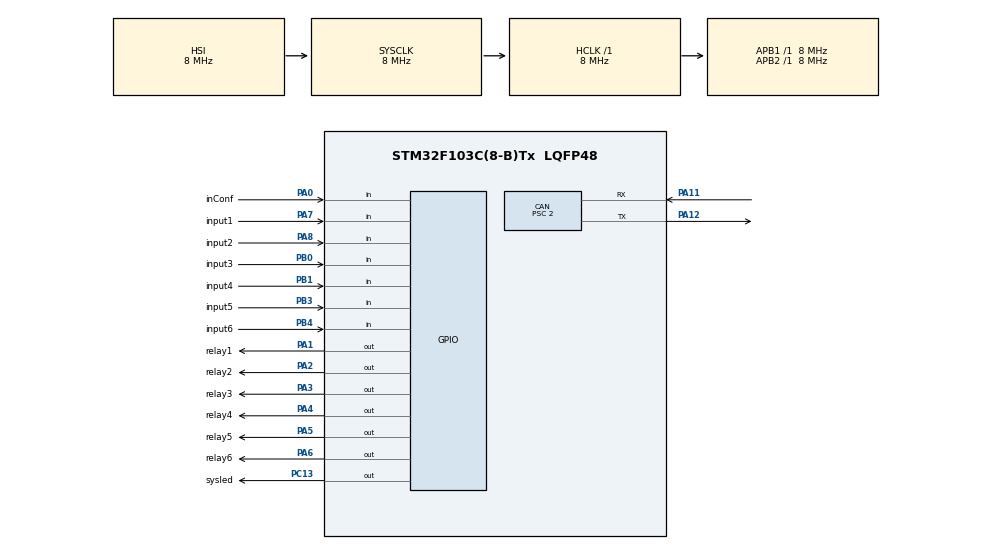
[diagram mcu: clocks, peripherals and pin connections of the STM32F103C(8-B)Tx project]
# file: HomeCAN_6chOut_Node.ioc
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CAN.ABOM=ENABLE
CAN.AWUM=DISABLE
CAN.BS1=CAN_BS1_13TQ
CAN.BS2=CAN_BS2_2TQ
CAN.CalculateBaudRate=250000
CAN.CalculateTimeBit=4000
CAN.CalculateTimeQuantum=250.0
CAN.Prescaler=2
Mcu.Family=STM32F1
Mcu.Name=STM32F103C(8-B)Tx
Mcu.Package=LQFP48
NVIC.CAN1_RX1_IRQn=true\:0\:0\:false\:false\:true\:true\:true\:true
NVIC.CAN1_SCE_IRQn=true\:0\:0\:false\:false\:true\:true\:true\:true
NVIC.PriorityGroup=NVIC_PRIORITYGROUP_4
NVIC.TIM2_IRQn=true\:15\:0\:false\:false\:true\:false\:true\:true
NVIC.TimeBase=TIM2_IRQn
NVIC.TimeBaseIP=TIM2
NVIC.USB_LP_CAN1_RX0_IRQn=true\:0\:0\:false\:false\:true\:true\:true\:true
PA0-WKUP.GPIO_Label=inConf
PA0-WKUP.GPIO_PuPd=GPIO_PULLUP
PA0-WKUP.Signal=GPIO_Input
PA1.GPIO_Label=relay1
PA1.GPIO_Speed=GPIO_SPEED_FREQ_MEDIUM
PA1.PinState=GPIO_PIN_SET
PA1.Signal=GPIO_Output
PA11.Mode=CAN_Activate
PA11.Signal=CAN_RX
PA12.Mode=CAN_Activate
PA12.Signal=CAN_TX
PA13.Mode=Serial_Wire
PA13.Signal=SYS_JTMS-SWDIO
PA14.Mode=Serial_Wire
PA14.Signal=SYS_JTCK-SWCLK
PA2.GPIO_Label=relay2
PA2.GPIO_Speed=GPIO_SPEED_FREQ_MEDIUM
PA2.PinState=GPIO_PIN_SET
PA2.Signal=GPIO_Output
PA3.GPIO_Label=relay3
PA3.GPIO_Speed=GPIO_SPEED_FREQ_MEDIUM
PA3.PinState=GPIO_PIN_SET
PA3.Signal=GPIO_Output
PA4.GPIO_Label=relay4
PA4.GPIO_Speed=GPIO_SPEED_FREQ_MEDIUM
PA4.PinState=GPIO_PIN_SET
PA4.Signal=GPIO_Output
PA5.GPIO_Label=relay5
PA5.GPIO_Speed=GPIO_SPEED_FREQ_MEDIUM
PA5.PinState=GPIO_PIN_SET
PA5.Signal=GPIO_Output
PA6.GPIO_Label=relay6
PA6.GPIO_Speed=GPIO_SPEED_FREQ_MEDIUM
PA6.PinState=GPIO_PIN_SET
PA6.Signal=GPIO_Output
PA7.GPIO_Label=input1
PA7.GPIO_PuPd=GPIO_PULLUP
PA7.Signal=GPIO_Input
PA8.GPIO_Label=input2
PA8.GPIO_PuPd=GPIO_PULLUP
PA8.Signal=GPIO_Input
PB0.GPIO_Label=input3
PB0.GPIO_PuPd=GPIO_PULLUP
PB0.Signal=GPIO_Input
PB1.GPIO_Label=input4
PB1.GPIO_PuPd=GPIO_PULLUP
PB1.Signal=GPIO_Input
PB3.GPIO_Label=input5
PB3.GPIO_PuPd=GPIO_PULLUP
PB3.Signal=GPIO_Input
PB4.GPIO_Label=input6
PB4.GPIO_PuPd=GPIO_PULLUP
PB4.Signal=GPIO_Input
PC13-TAMPER-RTC.GPIO_Label=sysled
PC13-TAMPER-RTC.Signal=GPIO_Output
ProjectManager.HeapSize=0x200
ProjectManager.StackSize=0x400
ProjectManager.TargetToolchain=STM32CubeIDE
RCC.AHBFreq_Value=8000000
RCC.APB1Freq_Value=8000000
RCC.APB1TimFreq_Value=8000000
RCC.APB2Freq_Value=8000000
RCC.APB2TimFreq_Value=8000000
RCC.HCLKFreq_Value=8000000
RCC.SYSCLKFreq_VALUE=8000000
RCC.USBFreq_Value=8000000
VP_SYS_VS_tim2.Mode=TIM2
board=custom

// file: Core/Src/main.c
/* USER CODE BEGIN Header */
/**
  ******************************************************************************
  * @file           : main.c
  * @brief          : Main program body
  ******************************************************************************
  * @attention
  *
  * Copyright (c) 2023 STMicroelectronics.
  * All rights reserved.
  *
  * This software is licensed under terms that can be found in the LICENSE file
  * in the root directory of this software component.
  * If no LICENSE file comes with this software, it is provided AS-IS.
  *
  ******************************************************************************
  */
/* USER CODE END Header */
#include "main.h"

/* USER CODE BEGIN Includes */
#include "FLASH_PAGE_F1.h"
/* USER CODE END Includes */

CAN_HandleTypeDef hcan;

/* USER CODE BEGIN PV */
CAN_RxHeaderTypeDef rxHeader; //CAN Bus Transmit Header
CAN_TxHeaderTypeDef txHeader; //CAN Bus Receive Header
uint8_t canRX[8] = {0,0,0,0,0,0,0,0};  //CAN Bus Receive Buffer
CAN_FilterTypeDef canfil; //CAN Bus Filter
uint32_t canMailbox; //CAN Bus Mail box variable

int
rUp_rel1,
rUp_rel2,
rUp_rel3,
rUp_rel4,
rUp_rel5,
rUp_rel6,
rUp_cod = 0;

int state1,
state2,
state3,
state4,
state5,
state6 =0;

uint32_t coding[] = {0,0,1,0,0,0,0,0,0,0,0,0,0,0,0,0,0,0,0,0,0,0};

uint32_t def_code[] = {0,0,1,0,0,0,0,0,0,0,0,0,0,0,0,0,0,0,0,0,0,0};

/* USER CODE END PV */

void SystemClock_Config(void);
static void MX_GPIO_Init(void);
static void MX_CAN_Init(void);
void  checkInConfigMode(void);
void updateState(void);
void checkInput(void);

int main(void)
{

  /* MCU Configuration--------------------------------------------------------*/

  /* Reset of all peripherals, Initializes the Flash interface and the Systick. */
  HAL_Init();

  /* Configure the system clock */
  SystemClock_Config();

  /* USER CODE BEGIN SysInit */

  Flash_Read_Data(0x0801FC00, coding, 21);

  if (coding[2] != 0) {

	  Flash_Write_Data(0x0801FC00, (uint32_t *)def_code, 22);

	  Flash_Read_Data(0x0801FC00, coding, 21);

 }

  /* USER CODE END SysInit */

  /* Initialize all configured peripherals */
  MX_GPIO_Init();
  MX_CAN_Init();
  /* USER CODE BEGIN 2 */
  canfil.FilterBank = 0;
  canfil.FilterMode = CAN_FILTERMODE_IDLIST;
  canfil.FilterScale = CAN_FILTERSCALE_16BIT;
  canfil.FilterFIFOAssignment = CAN_RX_FIFO0;
  canfil.FilterIdHigh = coding[1] << 5u;
  canfil.FilterIdLow = 0;
  canfil.FilterMaskIdHigh = 0;
  canfil.FilterMaskIdLow = 0;
  canfil.FilterActivation = ENABLE;

  txHeader.DLC = 8;
  txHeader.IDE = CAN_ID_STD;
  txHeader.RTR = CAN_RTR_DATA;
  txHeader.StdId = 0x030;
  txHeader.ExtId = 0x02;
  txHeader.TransmitGlobalTime = DISABLE;

  HAL_CAN_ConfigFilter(&hcan,&canfil);
  HAL_CAN_Start(&hcan);
  HAL_CAN_ActivateNotification(&hcan,CAN_IT_RX_FIFO0_MSG_PENDING);

 if (coding[0] == 1) {
	txHeader.DLC = 4;
	txHeader.StdId = coding[1];
	uint8_t csend[] = {0x05,0x02,0x06, coding[0]};
	HAL_CAN_AddTxMessage(&hcan,&txHeader,csend,&canMailbox);
 }
  /* USER CODE END 2 */

  /* Infinite loop */
  while (1)
  {
	  checkInConfigMode();
	  updateState();
	  checkInput();
  }
}

void SystemClock_Config(void)
{
  RCC_OscInitTypeDef RCC_OscInitStruct = {0};
  RCC_ClkInitTypeDef RCC_ClkInitStruct = {0};

  /** Initializes the RCC Oscillators according to the specified parameters
  * in the RCC_OscInitTypeDef structure.
  */
  RCC_OscInitStruct.OscillatorType = RCC_OSCILLATORTYPE_HSI;
  RCC_OscInitStruct.HSIState = RCC_HSI_ON;
  RCC_OscInitStruct.HSICalibrationValue = RCC_HSICALIBRATION_DEFAULT;
  RCC_OscInitStruct.PLL.PLLState = RCC_PLL_NONE;
  if (HAL_RCC_OscConfig(&RCC_OscInitStruct) != HAL_OK)
  {
    Error_Handler();
  }

  /** Initializes the CPU, AHB and APB buses clocks
  */
  RCC_ClkInitStruct.ClockType = RCC_CLOCKTYPE_HCLK|RCC_CLOCKTYPE_SYSCLK
                              |RCC_CLOCKTYPE_PCLK1|RCC_CLOCKTYPE_PCLK2;
  RCC_ClkInitStruct.SYSCLKSource = RCC_SYSCLKSOURCE_HSI;
  RCC_ClkInitStruct.AHBCLKDivider = RCC_SYSCLK_DIV1;
  RCC_ClkInitStruct.APB1CLKDivider = RCC_HCLK_DIV1;
  RCC_ClkInitStruct.APB2CLKDivider = RCC_HCLK_DIV1;

  if (HAL_RCC_ClockConfig(&RCC_ClkInitStruct, FLASH_LATENCY_0) != HAL_OK)
  {
    Error_Handler();
  }
}

static void MX_CAN_Init(void)
{

  hcan.Instance = CAN1;
  hcan.Init.Prescaler = 2;
  hcan.Init.Mode = CAN_MODE_NORMAL;
  hcan.Init.SyncJumpWidth = CAN_SJW_1TQ;
  hcan.Init.TimeSeg1 = CAN_BS1_13TQ;
  hcan.Init.TimeSeg2 = CAN_BS2_2TQ;
  hcan.Init.TimeTriggeredMode = DISABLE;
  hcan.Init.AutoBusOff = ENABLE;
  hcan.Init.AutoWakeUp = DISABLE;
  hcan.Init.AutoRetransmission = DISABLE;
  hcan.Init.ReceiveFifoLocked = DISABLE;
  hcan.Init.TransmitFifoPriority = DISABLE;
  if (HAL_CAN_Init(&hcan) != HAL_OK)
  {
    Error_Handler();
  }

}

static void MX_GPIO_Init(void)
{
  GPIO_InitTypeDef GPIO_InitStruct = {0};

  /* GPIO Ports Clock Enable */
  __HAL_RCC_GPIOC_CLK_ENABLE();
  __HAL_RCC_GPIOA_CLK_ENABLE();
  __HAL_RCC_GPIOB_CLK_ENABLE();

  /*Configure GPIO pin Output Level */
  HAL_GPIO_WritePin(sysled_GPIO_Port, sysled_Pin, GPIO_PIN_RESET);

  /*Configure GPIO pin Output Level */
  HAL_GPIO_WritePin(GPIOA, relay1_Pin, !coding[10]);
  HAL_GPIO_WritePin(GPIOA, relay2_Pin, !coding[11]);
  HAL_GPIO_WritePin(GPIOA, relay3_Pin, !coding[12]);
  HAL_GPIO_WritePin(GPIOA, relay4_Pin, !coding[13]);
  HAL_GPIO_WritePin(GPIOA, relay5_Pin, !coding[14]);
  HAL_GPIO_WritePin(GPIOA, relay6_Pin, !coding[15]);

  /*Configure GPIO pin : sysled_Pin */
  GPIO_InitStruct.Pin = sysled_Pin;
  GPIO_InitStruct.Mode = GPIO_MODE_OUTPUT_PP;
  GPIO_InitStruct.Pull = GPIO_NOPULL;
  GPIO_InitStruct.Speed = GPIO_SPEED_FREQ_LOW;
  HAL_GPIO_Init(sysled_GPIO_Port, &GPIO_InitStruct);

  /*Configure GPIO pins : inConf_Pin input1_Pin input2_Pin */
  GPIO_InitStruct.Pin = inConf_Pin|input1_Pin|input2_Pin;
  GPIO_InitStruct.Mode = GPIO_MODE_INPUT;
  GPIO_InitStruct.Pull = GPIO_PULLUP;
  HAL_GPIO_Init(GPIOA, &GPIO_InitStruct);

  /*Configure GPIO pins : relay1_Pin relay2_Pin relay3_Pin relay4_Pin
                           relay5_Pin relay6_Pin */
  GPIO_InitStruct.Pin = relay1_Pin|relay2_Pin|relay3_Pin|relay4_Pin
                          |relay5_Pin|relay6_Pin;
  GPIO_InitStruct.Mode = GPIO_MODE_OUTPUT_PP;
  GPIO_InitStruct.Pull = GPIO_NOPULL;
  GPIO_InitStruct.Speed = GPIO_SPEED_FREQ_MEDIUM;
  HAL_GPIO_Init(GPIOA, &GPIO_InitStruct);

  /*Configure GPIO pins : input3_Pin input4_Pin input5_Pin input6_Pin */
  GPIO_InitStruct.Pin = input3_Pin|input4_Pin|input5_Pin|input6_Pin;
  GPIO_InitStruct.Mode = GPIO_MODE_INPUT;
  GPIO_InitStruct.Pull = GPIO_PULLUP;
  HAL_GPIO_Init(GPIOB, &GPIO_InitStruct);

}

/* USER CODE BEGIN 4 */
void checkInConfigMode() {
	  HAL_Delay(1);
	  if (coding[0] != 0) {
		  //in config mode
		  HAL_GPIO_WritePin(GPIOC,GPIO_PIN_13,0);
		  HAL_Delay(500);
		  HAL_GPIO_WritePin(GPIOC,GPIO_PIN_13,1);
		  HAL_Delay(500);
		  if (HAL_GPIO_ReadPin(GPIOA,GPIO_PIN_0) == 0) {
			  coding[0] = 0;
			  Flash_Write_Data(0x0801FC00 , (uint32_t *)coding, 22);
			  while(HAL_GPIO_ReadPin(GPIOA,GPIO_PIN_0) == 0) {
				  HAL_GPIO_WritePin(GPIOC,GPIO_PIN_13,0);
				  HAL_Delay(100);
				  HAL_GPIO_WritePin(GPIOC,GPIO_PIN_13,1);
				  HAL_Delay(100);
			  }
			  canfil.FilterIdHigh = coding[1] << 5u;
			  HAL_CAN_ConfigFilter(&hcan,&canfil);
		  }
	  }else{
		  if (HAL_GPIO_ReadPin(GPIOA,GPIO_PIN_0) == 0) {
			  coding[0] = 1;
			  Flash_Write_Data(0x0801FC00 , (uint32_t *)coding, 22);
			  txHeader.DLC = 3;
			  txHeader.StdId = coding[1];
			  uint8_t csend[] = {0x05,0x02,0x06};
			  HAL_CAN_AddTxMessage(&hcan,&txHeader,csend,&canMailbox);
			  while(HAL_GPIO_ReadPin(GPIOA,GPIO_PIN_0) == 0) {
				  HAL_GPIO_WritePin(GPIOC,GPIO_PIN_13,0);
				  HAL_Delay(100);
				  HAL_GPIO_WritePin(GPIOC,GPIO_PIN_13,1);
				  HAL_Delay(100);
			  }
		  }
	  }

}

void checkInput() {
	//INPUT 1 --------------------------------------------------------------------------------
	if (coding[16] == 1) {
	if (!HAL_GPIO_ReadPin(GPIOA, GPIO_PIN_7)) {
		coding[10] = !coding[10];
		HAL_GPIO_WritePin(GPIOA,GPIO_PIN_1,!coding[10]);

		rUp_rel1=1;
		while(!HAL_GPIO_ReadPin(GPIOA,GPIO_PIN_7)) {

		}
	}
	}else if (coding[16]==2) {
		if (!HAL_GPIO_ReadPin(GPIOA, GPIO_PIN_7)) {
			coding[10] = !coding[10];
			HAL_GPIO_WritePin(GPIOA,GPIO_PIN_1,!coding[10]);

			rUp_rel1=1;
			coding[16]= 3;

			}
	}else if (coding[16]==3) {
		if (HAL_GPIO_ReadPin(GPIOA, GPIO_PIN_7)) {
			coding[10] = !coding[10];
			HAL_GPIO_WritePin(GPIOA,GPIO_PIN_1,!coding[10]);

			rUp_rel1=1;

			coding[16]= 2;

			}
	}

	//INPUT 2 --------------------------------------------------------------------------------
	if (coding[17] == 1) {
	if (!HAL_GPIO_ReadPin(GPIOA, GPIO_PIN_8)) {
		coding[11] = !coding[11];
		HAL_GPIO_WritePin(GPIOA,GPIO_PIN_2,!coding[11]);

		rUp_rel2=1;

		while(!HAL_GPIO_ReadPin(GPIOA,GPIO_PIN_8)) {

		}
	}
	}else if (coding[17]==2) {
		if (!HAL_GPIO_ReadPin(GPIOA, GPIO_PIN_8)) {
			coding[11] = !coding[11];
			HAL_GPIO_WritePin(GPIOA,GPIO_PIN_2,!coding[11]);

			rUp_rel2=1;
			coding[17]= 3;

			}
	}else if (coding[17]==3) {
		if (HAL_GPIO_ReadPin(GPIOA, GPIO_PIN_8)) {
			coding[11] = !coding[11];
			HAL_GPIO_WritePin(GPIOA,GPIO_PIN_2,!coding[11]);

			rUp_rel2=1;
			coding[17]= 2;

			}
	}

	//INPUT 3 --------------------------------------------------------------------------------
	if (coding[18] == 1) {
	if (!HAL_GPIO_ReadPin(GPIOB, GPIO_PIN_0)) {
		coding[12] = !coding[12];
		HAL_GPIO_WritePin(GPIOA,GPIO_PIN_3,!coding[12]);

		rUp_rel2=1;

		while(!HAL_GPIO_ReadPin(GPIOB,GPIO_PIN_0)) {

		}
	}
	}else if (coding[18]==2) {
		if (!HAL_GPIO_ReadPin(GPIOB, GPIO_PIN_0)) {
			coding[12] = !coding[12];
			HAL_GPIO_WritePin(GPIOA,GPIO_PIN_3,!coding[12]);

			rUp_rel3=1;
			coding[18]= 3;

			}
	}else if (coding[18]==3) {
		if (HAL_GPIO_ReadPin(GPIOB, GPIO_PIN_0)) {
			coding[12] = !coding[12];
			HAL_GPIO_WritePin(GPIOA,GPIO_PIN_3,!coding[12]);

			rUp_rel3=1;

			coding[18]= 2;

			}
	}

	//INPUT 4 --------------------------------------------------------------------------------
	if (coding[19] == 1) {
	if (!HAL_GPIO_ReadPin(GPIOB, GPIO_PIN_1)) {
		coding[13] = !coding[13];
		HAL_GPIO_WritePin(GPIOA,GPIO_PIN_4,!coding[13]);

		rUp_rel4=1;

		while(!HAL_GPIO_ReadPin(GPIOB,GPIO_PIN_1)) {

		}
	}
	}else if (coding[19]==2) {
		if (!HAL_GPIO_ReadPin(GPIOB, GPIO_PIN_1)) {
			coding[13] = !coding[13];
			HAL_GPIO_WritePin(GPIOA,GPIO_PIN_4,!coding[13]);

			rUp_rel4=1;

			coding[19]= 3;

			}
	}else if (coding[19]==3) {
		if (HAL_GPIO_ReadPin(GPIOB, GPIO_PIN_1)) {
			coding[13] = !coding[13];
			HAL_GPIO_WritePin(GPIOA,GPIO_PIN_4,!coding[13]);

			rUp_rel4=1;
			coding[19]= 2;

			}
	}

	//INPUT 5 --------------------------------------------------------------------------------
	if (coding[20] == 1) {
	if (!HAL_GPIO_ReadPin(GPIOB, GPIO_PIN_3)) {
		coding[14] = !coding[14];
		HAL_GPIO_WritePin(GPIOA,GPIO_PIN_5,!coding[14]);

		rUp_rel5=1;

		while(!HAL_GPIO_ReadPin(GPIOB,GPIO_PIN_3)) {

		}
	}
	}else if (coding[20]==2) {
		if (!HAL_GPIO_ReadPin(GPIOB, GPIO_PIN_3)) {
			coding[14] = !coding[14];
			HAL_GPIO_WritePin(GPIOA,GPIO_PIN_5,!coding[14]);

			rUp_rel5=1;
			coding[20]= 3;

			}
	}else if (coding[20]==3) {
		if (HAL_GPIO_ReadPin(GPIOB, GPIO_PIN_3)) {
			coding[14] = !coding[14];
			HAL_GPIO_WritePin(GPIOA,GPIO_PIN_5,!coding[14]);

			rUp_rel5=1;
			coding[20]= 2;

			}
	}

	//INPUT 6 --------------------------------------------------------------------------------
	if (coding[21] == 1) {
	if (!HAL_GPIO_ReadPin(GPIOB, GPIO_PIN_4)) {
		coding[15] = !coding[15];
		HAL_GPIO_WritePin(GPIOA,GPIO_PIN_6,!coding[15]);

		rUp_rel6=1;

		while(!HAL_GPIO_ReadPin(GPIOB,GPIO_PIN_4)) {

		}
	}
	}else if (coding[21]==2) {
		if (!HAL_GPIO_ReadPin(GPIOB, GPIO_PIN_4)) {
			coding[15] = !coding[15];
			HAL_GPIO_WritePin(GPIOA,GPIO_PIN_6,!coding[15]);

			rUp_rel6=1;
			coding[21]= 3;

			}
	}else if (coding[21]==3) {
		if (HAL_GPIO_ReadPin(GPIOB, GPIO_PIN_4)) {
			coding[15] = !coding[15];
			HAL_GPIO_WritePin(GPIOA,GPIO_PIN_6,!coding[15]);

			rUp_rel6=1;

			coding[21]= 2;

			}
	}

}

void updateState() {

	if (rUp_rel1) {
			txHeader.DLC = 4;
			txHeader.StdId = coding[1];
			uint8_t csend[] = {0x01,0x01,coding[10],0x00};
			HAL_CAN_AddTxMessage(&hcan,&txHeader,csend,&canMailbox);
			rUp_rel1=0;
			Flash_Write_Data(0x0801FC00 , (uint32_t *)coding, 22);
		}
		if (rUp_rel2) {
			txHeader.DLC = 4;
			txHeader.StdId = coding[1];
			uint8_t csend[] = {0x01,0x02,coding[11],0x00};
			HAL_CAN_AddTxMessage(&hcan,&txHeader,csend,&canMailbox);
			rUp_rel2=0;
			Flash_Write_Data(0x0801FC00 , (uint32_t *)coding, 22);
		}

		if (rUp_rel3) {
			txHeader.DLC = 4;
			txHeader.StdId = coding[1];
			uint8_t csend[] = {0x01,0x03,coding[12],0x00};
			HAL_CAN_AddTxMessage(&hcan,&txHeader,csend,&canMailbox);
			rUp_rel3=0;
			Flash_Write_Data(0x0801FC00 , (uint32_t *)coding, 22);
		}

		if (rUp_rel4) {
			txHeader.DLC = 4;
			txHeader.StdId = coding[1];
			uint8_t csend[] = {0x01,0x04,coding[13],0x00};
			HAL_CAN_AddTxMessage(&hcan,&txHeader,csend,&canMailbox);
			rUp_rel4=0;
			Flash_Write_Data(0x0801FC00 , (uint32_t *)coding, 22);
		}

		if (rUp_rel5) {
			txHeader.DLC = 4;
			txHeader.StdId = coding[1];
			uint8_t csend[] = {0x01,0x05,coding[14],0x00};
			HAL_CAN_AddTxMessage(&hcan,&txHeader,csend,&canMailbox);
			rUp_rel5=0;
			Flash_Write_Data(0x0801FC00 , (uint32_t *)coding, 22);
		}

		if (rUp_rel6) {
			txHeader.DLC = 4;
			txHeader.StdId = coding[1];
			uint8_t csend[] = {0x01,0x06,coding[15],0x00};
			HAL_CAN_AddTxMessage(&hcan,&txHeader,csend,&canMailbox);
			rUp_rel6=0;
			Flash_Write_Data(0x0801FC00 , (uint32_t *)coding, 22);
		}
}
void HAL_CAN_RxFifo0MsgPendingCallback(CAN_HandleTypeDef *hcan1)

{

	HAL_GPIO_WritePin(GPIOC,GPIO_PIN_13,0);
	HAL_CAN_GetRxMessage(hcan1, CAN_RX_FIFO0, &rxHeader, canRX);
if (!coding[0]) {
	if (!coding[2]) {
	if (rxHeader.StdId == coding[1]) {
		if (canRX[0] == 0) {
			if (canRX[1] == 1) {
				if (canRX[2] == 0) {
				HAL_GPIO_WritePin(GPIOA,GPIO_PIN_1,1);
				coding[10] = 0;

				}else{
				HAL_GPIO_WritePin(GPIOA,GPIO_PIN_1,0);
				coding[10] = 1;

				}

				rUp_rel1=1;
				}
			else if (canRX[1] == 2) {
				if (canRX[2] == 0) {
				HAL_GPIO_WritePin(GPIOA,GPIO_PIN_2,1);
				coding[11] = 0;
				}else{
				HAL_GPIO_WritePin(GPIOA,GPIO_PIN_2,0);
				coding[11] = 1;
				}
				rUp_rel2=1;
				}
			else if (canRX[1] == 3) {
				if (canRX[2] == 0) {
				HAL_GPIO_WritePin(GPIOA,GPIO_PIN_3,1);
				coding[12] = 0;
				}else{
				HAL_GPIO_WritePin(GPIOA,GPIO_PIN_3,0);
				coding[12] = 1;
				}
				rUp_rel3=1;
				}

			else if (canRX[1] == 4) {
				if (canRX[2] == 0) {
				HAL_GPIO_WritePin(GPIOA,GPIO_PIN_4,1);
				coding[13] = 0;
				}else{
				HAL_GPIO_WritePin(GPIOA,GPIO_PIN_4,0);
				coding[13] = 1;
				}
				rUp_rel4=1;
				}
			else if (canRX[1] == 5) {
				if (canRX[2] == 0) {
				HAL_GPIO_WritePin(GPIOA,GPIO_PIN_5,1);
				coding[14] = 0;
				}else{
				HAL_GPIO_WritePin(GPIOA,GPIO_PIN_5,0);
				coding[14] = 1;
				}
				rUp_rel5=1;
				}
			else if (canRX[1] == 6) {
				if (canRX[2] == 0) {
				HAL_GPIO_WritePin(GPIOA,GPIO_PIN_6,1);
				coding[15] = 0;
				}else{
				HAL_GPIO_WritePin(GPIOA,GPIO_PIN_6,0);
				coding[15] = 1;
				}
				rUp_rel6=1;
				}
			} else if (canRX[0] == 2) {
				 if (canRX[1] == 1) {
					 txHeader.DLC = 4;
					 txHeader.StdId = coding[1];
					 uint8_t csend[] = {0x01,0x01,coding[10],0x00};
					 HAL_CAN_AddTxMessage(&hcan,&txHeader,csend,&canMailbox);
				 	 }
				 else if (canRX[1] == 2) {
					 txHeader.DLC = 4;
					 txHeader.StdId = coding[1];
					 uint8_t csend[] = {0x01,0x02,coding[11],0x00};
					 HAL_CAN_AddTxMessage(&hcan,&txHeader,csend,&canMailbox);
				 	}
				 else if (canRX[1] == 3) {
					 txHeader.DLC = 4;
					 txHeader.StdId = coding[1];
					 uint8_t csend[] = {0x01,0x03,coding[12],0x00};
					 HAL_CAN_AddTxMessage(&hcan,&txHeader,csend,&canMailbox);
				 	}
				 else if (canRX[1] == 4) {
					 txHeader.DLC = 4;
					 txHeader.StdId = coding[1];
					 uint8_t csend[] = {0x01,0x04,coding[13],0x00};
					 HAL_CAN_AddTxMessage(&hcan,&txHeader,csend,&canMailbox);
				 	}
				 else if (canRX[1] == 5) {
					 txHeader.DLC = 4;
					 txHeader.StdId = coding[1];
					 uint8_t csend[] = {0x01,0x05,coding[14],0x00};
					 HAL_CAN_AddTxMessage(&hcan,&txHeader,csend,&canMailbox);
				 	}
				 else if (canRX[1] == 6) {
					 txHeader.DLC = 4;
					 txHeader.StdId = coding[1];
					 uint8_t csend[] = {0x01,0x06,coding[15],0x00};
					 HAL_CAN_AddTxMessage(&hcan,&txHeader,csend,&canMailbox);
				 	}
				 else if (canRX[1] == 0) {
					  if (canRX[2] == 0) {
					 txHeader.DLC = 8;
					 txHeader.StdId = coding[1];
					 uint8_t csend[] = {0x01, 0x00, coding[10],coding[11],coding[12],coding[13],coding[14], coding[15]};
					 HAL_CAN_AddTxMessage(&hcan,&txHeader,csend,&canMailbox);
				 	}

				 }

			}
		}
	}
}else{
	if (rxHeader.StdId == coding[1]) {
		if (canRX[0] == 0) {

					txHeader.DLC = 4;
					txHeader.StdId = coding[1];
					uint8_t csend[] = {0x05,0x02,0x06, coding[0]};
					HAL_CAN_AddTxMessage(&hcan,&txHeader,csend,&canMailbox);
			}
		else if (canRX[0] == 1) {
				txHeader.DLC = 8;
				txHeader.StdId = coding[1];
				uint8_t csend[] = {0x0A,coding[0],coding[1],coding[2],coding[3],coding[4],coding[5], coding[6]};
				HAL_CAN_AddTxMessage(&hcan,&txHeader,csend,&canMailbox);
				// can message support max 8 byte so the coding i sent in pages. the first byte rappresents 1st page

		}else if (canRX[0] == 2) {
			txHeader.DLC = 8;
			txHeader.StdId = coding[1];
			uint8_t csend[] = {0x0B,coding[7],coding[8],coding[9],coding[10],coding[11],coding[12], coding[13]};
			HAL_CAN_AddTxMessage(&hcan,&txHeader,csend,&canMailbox);
			// can message support max 8 byte so the coding i sent in pages. the first byte rappresents 1st page

		}else if (canRX[0] == 3) {
			txHeader.DLC = 8;
			txHeader.StdId = coding[1];
			uint8_t csend[] = {0x0C,coding[14],coding[15],coding[16],coding[17],coding[18],coding[19], coding[20]};
			HAL_CAN_AddTxMessage(&hcan,&txHeader,csend,&canMailbox);
			// can message support max 8 byte so the coding i sent in pages. the first byte rappresents 1st page

		}else if (canRX[0] == 4) {
			txHeader.DLC = 2;
			txHeader.StdId = coding[1];
			uint8_t csend[] = {0x0D,coding[21]};
			HAL_CAN_AddTxMessage(&hcan,&txHeader,csend,&canMailbox);
			// can message support max 8 byte so the coding i sent in pages. the first byte rappresents 1st page

		}

		else if (canRX[0] == 7) {
			for (int i=0; i <7; i++) {
				coding[i] = canRX[i+1];
			}
			Flash_Write_Data(0x0801FC00 , (uint32_t *)coding, 22);
			 txHeader.DLC = 1;
			 txHeader.StdId = coding[1];
			 uint8_t csend[] = {0x01};
			 HAL_CAN_AddTxMessage(&hcan,&txHeader,csend,&canMailbox);
			 canfil.FilterIdHigh = coding[1] << 5u;
			 HAL_CAN_ConfigFilter(&hcan,&canfil);
		}
		else if (canRX[0] == 8) {
			for (int i=0; i <8; i++) {
				coding[i+7] = canRX[i+1];
				}

			Flash_Write_Data(0x0801FC00 , (uint32_t *)coding, 22);
			txHeader.DLC = 1;
			txHeader.StdId = coding[1];
			uint8_t csend[] = {0x01};
			HAL_CAN_AddTxMessage(&hcan,&txHeader,csend,&canMailbox);

				}
		else if (canRX[0] == 9) {
			for (int i=0; i <8; i++) {
				coding[i+14] = canRX[i+1];
				}

				Flash_Write_Data(0x0801FC00 , (uint32_t *)coding, 22);
				txHeader.DLC = 1;
				txHeader.StdId = coding[1];
				uint8_t csend[] = {0x01};
				HAL_CAN_AddTxMessage(&hcan,&txHeader,csend,&canMailbox);

				}
		else if (canRX[0] == 16) {
			coding[21] = canRX[1];

				Flash_Write_Data(0x0801FC00 , (uint32_t *)coding, 22);
				txHeader.DLC = 1;
				txHeader.StdId = coding[1];
				uint8_t csend[] = {0x01};
				HAL_CAN_AddTxMessage(&hcan,&txHeader,csend,&canMailbox);

				}

	}
}
	if (rxHeader.StdId == 0x0) {
		if (coding[0] | coding[3] | coding[2]) {
		if (canRX[0] == 0) {

			txHeader.DLC = 4;
			txHeader.StdId = coding[1];
			uint8_t csend[] = {0x05,0x02,0x06, coding[0]};
			HAL_CAN_AddTxMessage(&hcan,&txHeader,csend,&canMailbox);
				}
			}
	}
	HAL_GPIO_WritePin(GPIOC,GPIO_PIN_13,1);
}

/* USER CODE END 4 */

void HAL_TIM_PeriodElapsedCallback(TIM_HandleTypeDef *htim)
{
  if (htim->Instance == TIM2) {
    HAL_IncTick();
  }
}

void Error_Handler(void)
{
  /* USER CODE BEGIN Error_Handler_Debug */
  /* User can add his own implementation to report the HAL error return state */
  __disable_irq();
  while (1)
  {
	  NVIC_SystemReset();
  }
  /* USER CODE END Error_Handler_Debug */
}
